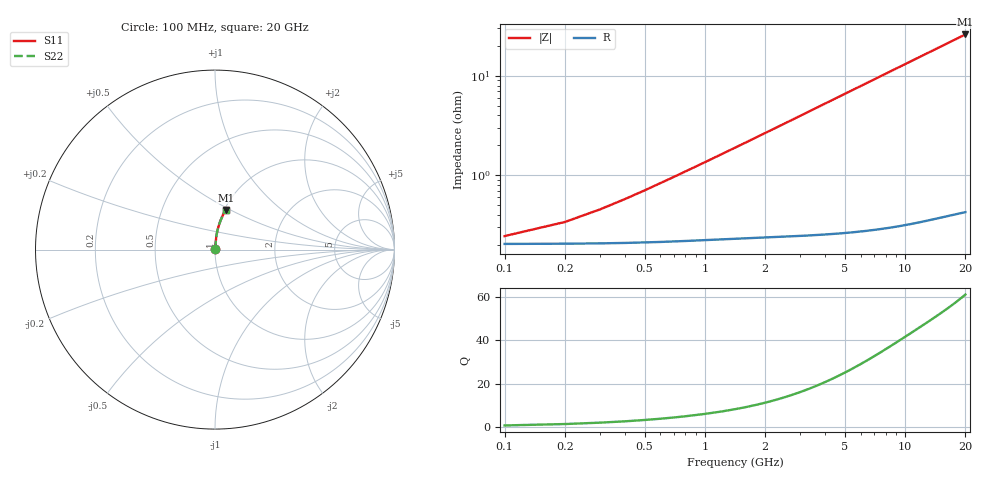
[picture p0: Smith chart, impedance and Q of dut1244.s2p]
! Touchstone file exported from HFSS 2024.1.0
!  File:  C:/UserFiles/LocalFiles/RDL_TSV_Batchsim/temp_RDL_bottom_1244_1780245086.aedt
!  Generated:  12:34:27 AM Jun  1, 2026
!  Design:  RDL_bottom
!  Project:  temp_RDL_bottom_1244_1780245086
!  Setup:  Setup1
!  Solution:  Sweep
! Variables:
!  dtsv = 10.80580581um
!  hbump = 3um
!  htsv = 94.57um
!  ldown = 130.59um
!  lrdl = 100um
!  p = 40
!  p1 = 57.63um
!  rhole = 1um
!  t = 450um
!  tdown = 2.25um
!  trdl = 3.915915916um
!  wdown = 11.67um
!  wrdl = 20um
# GHz S MA R 50.000000
! Terminal data exported
! Port[1] = RDL1_T1
! Port[2] = RDL1_T2
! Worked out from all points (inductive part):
!   200 points, 100 MHz to 20 GHz, reference 50 ohm
!   read as one part in series: L = 214 pH near 500 MHz
!   highest Q = 61 at 20 GHz (marker M1), where L = 207 pH
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0.1  0.002356 29.9  0.998 -0.1  0.998 -0.1  0.002356 29.9
! Gamma 0 0 0 0
! Port Impedance 50 0 50 0
0.3  0.004082 59.4  0.9979 -0.3  0.9979 -0.3  0.004082 59.4
0.4  0.005129 65.8  0.9979 -0.3  0.9979 -0.3  0.005129 65.8
0.5  0.006215 69.9  0.9979 -0.4  0.9979 -0.4  0.006215 69.9
0.6  0.007319 72.7  0.9978 -0.5  0.9978 -0.5  0.007319 72.7
0.7  0.008432 74.8  0.9978 -0.6  0.9978 -0.6  0.008432 74.8
0.9  0.01067 77.6  0.9977 -0.8  0.9977 -0.8  0.01067 77.6
1.2  0.01405 80.1  0.9975 -1.0  0.9975 -1.0  0.01405 80.1
1.4  0.0163 81.2  0.9974 -1.2  0.9974 -1.2  0.0163 81.2
1.7  0.01969 82.3  0.9973 -1.5  0.9973 -1.5  0.01969 82.3
2.2  0.02536 83.5  0.997 -1.9  0.997 -1.9  0.02536 83.5
2.8  0.03219 84.2  0.9965 -2.4  0.9965 -2.4  0.03219 84.2
3.5  0.0402 84.6  0.9959 -3.0  0.9959 -3.0  0.0402 84.6
4.2  0.04823 84.7  0.9952 -3.6  0.9952 -3.6  0.04823 84.7
5  0.05746 84.6  0.9942 -4.2  0.9942 -4.2  0.05746 84.6
5.9  0.06787 84.4  0.993 -5.0  0.993 -5.0  0.06787 84.4
6.8  0.07832 84.0  0.9916 -5.7  0.9916 -5.7  0.07832 84.0
8.3  0.09579 83.3  0.9891 -6.9  0.9891 -6.9  0.09579 83.3
10.1  0.1168 82.1  0.9857 -8.4  0.9857 -8.4  0.1168 82.1
13.4  0.1549 79.8  0.9784 -11.0  0.9784 -11.0  0.1549 79.8
16.7  0.1924 77.3  0.9701 -13.5  0.9701 -13.5  0.1924 77.3
20  0.2288 74.8  0.9608 -16.0  0.9608 -16.0  0.2288 74.8
